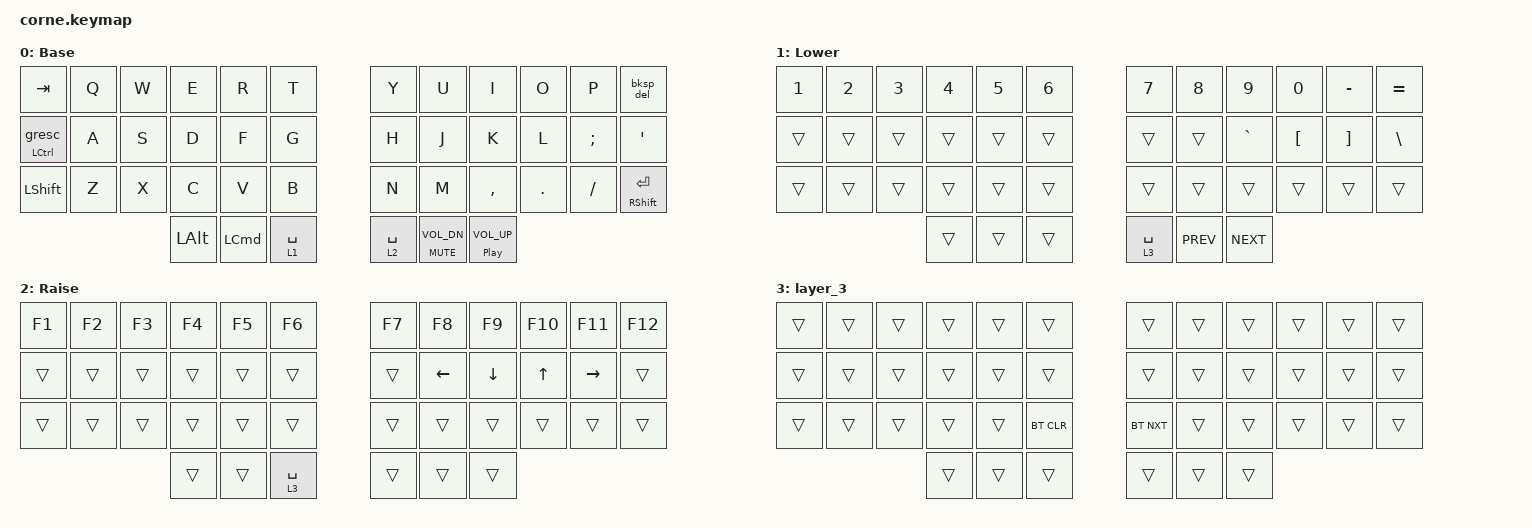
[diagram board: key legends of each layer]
/*
 * Copyright (c) 2020 The ZMK Contributors
 *
 * SPDX-License-Identifier: MIT
 */

#include <behaviors.dtsi>
#include <dt-bindings/zmk/bt.h>
#include <dt-bindings/zmk/keys.h>

&gresc { keep-mods = <(MOD_LGUI|MOD_LSFT|MOD_RGUI|MOD_RSFT)>; };

/ {
    combos {
        compatible = "zmk,combos";

        shift_caps {
            bindings = <&kp CAPSLOCK>;
            key-positions = <24 35>;
            layers = <0>;
        };
    };

    behaviors {
        ctrl_grave_esc: ctrl_grave_esc {
            compatible = "zmk,behavior-hold-tap";
            label = "CTRL_GRAVE_ESC";
            bindings = <&kp>, <&gresc>;

            #binding-cells = <2>;
            tapping-term-ms = <200>;
        };

        bksp_del: bksp_del {
            compatible = "zmk,behavior-mod-morph";
            label = "BKSP_DEL";
            bindings = <&kp BACKSPACE>, <&kp DELETE>;

            #binding-cells = <0>;
            mods = <(MOD_LSFT|MOD_RSFT)>;
            keep-mods = <(MOD_RSFT)>;
        };

        lt_hold_pref: lt_hold_pref {
            compatible = "zmk,behavior-hold-tap";
            label = "Layer tap hold preferred";
            bindings = <&mo>, <&kp>;

            #binding-cells = <2>;
            tapping-term-ms = <200>;
        };
    };

    keymap {
        compatible = "zmk,keymap";

        default_layer {
            // -----------------------------------------------------------------------------------------
            // |  TAB |  Q  |  W  |  E  |  R  |  T  |   |  Y  |  U   |  I  |  O  |  P  | BKSP |
            // | CTRL |  A  |  S  |  D  |  F  |  G  |   |  H  |  J   |  K  |  L  |  ;  |  '   |
            // | SHFT |  Z  |  X  |  C  |  V  |  B  |   |  N  |  M   |  ,  |  .  |  /  | ESC  |
            //                    | GUI | LWR | SPC |   | ENT | RSE  | ALT |

            label = "Base";
            bindings = <
&kp TAB                  &kp Q  &kp W  &kp E     &kp R     &kp T                    &kp Y        &kp U                &kp I                      &kp O    &kp P     &bksp_del
&ctrl_grave_esc LCTRL 0  &kp A  &kp S  &kp D     &kp F     &kp G                    &kp H        &kp J                &kp K                      &kp L    &kp SEMI  &kp SQT
&kp LSHFT                &kp Z  &kp X  &kp C     &kp V     &kp B                    &kp N        &kp M                &kp COMMA                  &kp DOT  &kp FSLH  &mt RIGHT_SHIFT ENTER
                                       &kp LALT  &kp LCMD  &lt_hold_pref 1 SPACE    &lt 2 SPACE  &mt C_MUTE C_VOL_DN  &mt C_PLAY_PAUSE C_VOL_UP
            >;
        };

        lower_layer {
            // -----------------------------------------------------------------------------------------
            // |  TAB |  1  |  2  |  3  |  4  |  5  |   |  6  |  7  |  8  |  9  |  0  | BKSP |
            // | BTCLR| BT1 | BT2 | BT3 | BT4 | BT5 |   | LFT | DWN |  UP | RGT |     |      |
            // | SHFT |     |     |     |     |     |   |     |     |     |     |     |      |
            //                    | GUI |     | SPC |   | ENT |     | ALT |

            label = "Lower";
            bindings = <
&kp N1  &kp N2  &kp N3  &kp N4  &kp N5  &kp N6    &kp N7       &kp N8      &kp N9      &kp N0    &kp MINUS  &kp EQUAL
&trans  &trans  &trans  &trans  &trans  &trans    &trans       &trans      &kp GRAVE   &kp LBKT  &kp RBKT   &kp BSLH
&trans  &trans  &trans  &trans  &trans  &trans    &trans       &trans      &trans      &trans    &trans     &trans
                        &trans  &trans  &trans    &lt 3 SPACE  &kp C_PREV  &kp C_NEXT
            >;
        };

        raise_layer {
            // -----------------------------------------------------------------------------------------
            // |  TAB |  !  |  @  |  #  |  $  |  %  |   |  ^  |  &  |  *  |  (  |  )  | BKSP |
            // | CTRL |     |     |     |     |     |   |  -  |  =  |  [  |  ]  |  \  |  `   |
            // | SHFT |     |     |     |     |     |   |  _  |  +  |  {  |  }  | "|" |  ~   |
            //                    | GUI |     | SPC |   | ENT |     | ALT |

            label = "Raise";
            bindings = <
&kp F1  &kp F2  &kp F3  &kp F4  &kp F5  &kp F6         &kp F7  &kp F8    &kp F9    &kp F10  &kp F11    &kp F12
&trans  &trans  &trans  &trans  &trans  &trans         &trans  &kp LEFT  &kp DOWN  &kp UP   &kp RIGHT  &trans
&trans  &trans  &trans  &trans  &trans  &trans         &trans  &trans    &trans    &trans   &trans     &trans
                        &trans  &trans  &lt 3 SPACE    &trans  &trans    &trans
            >;
        };

        layer_3 {
            bindings = <
&trans  &trans  &trans  &trans  &trans  &trans        &trans      &trans  &trans  &trans  &trans  &trans
&trans  &trans  &trans  &trans  &trans  &trans        &trans      &trans  &trans  &trans  &trans  &trans
&trans  &trans  &trans  &trans  &trans  &bt BT_CLR    &bt BT_NXT  &trans  &trans  &trans  &trans  &trans
                        &trans  &trans  &trans        &trans      &trans  &trans
            >;
        };
    };
};
